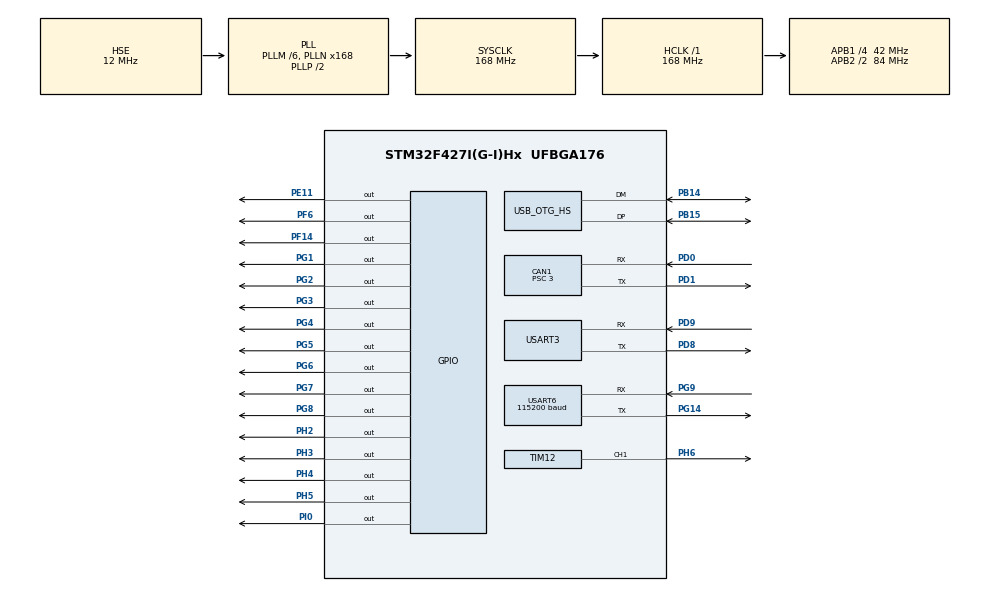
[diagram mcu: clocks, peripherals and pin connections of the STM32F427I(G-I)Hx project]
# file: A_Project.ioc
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CAN1.BS1=CAN_BS1_9TQ
CAN1.BS2=CAN_BS2_4TQ
CAN1.CalculateBaudRate=1000000
CAN1.CalculateTimeBit=1000
CAN1.CalculateTimeQuantum=71.42857142857143
CAN1.Mode=CAN_MODE_NORMAL
CAN1.Prescaler=3
CAN1.SJW=CAN_SJW_2TQ
Dma.Request0=USART6_RX
Dma.Request1=USART6_TX
Dma.USART6_RX.0.Direction=DMA_PERIPH_TO_MEMORY
Dma.USART6_RX.0.FIFOMode=DMA_FIFOMODE_DISABLE
Dma.USART6_RX.0.Instance=DMA2_Stream1
Dma.USART6_RX.0.MemDataAlignment=DMA_MDATAALIGN_BYTE
Dma.USART6_RX.0.MemInc=DMA_MINC_ENABLE
Dma.USART6_RX.0.Mode=DMA_CIRCULAR
Dma.USART6_RX.0.PeriphDataAlignment=DMA_PDATAALIGN_BYTE
Dma.USART6_RX.0.PeriphInc=DMA_PINC_DISABLE
Dma.USART6_RX.0.Priority=DMA_PRIORITY_MEDIUM
Dma.USART6_TX.1.Direction=DMA_MEMORY_TO_PERIPH
Dma.USART6_TX.1.FIFOMode=DMA_FIFOMODE_DISABLE
Dma.USART6_TX.1.Instance=DMA2_Stream6
Dma.USART6_TX.1.MemDataAlignment=DMA_MDATAALIGN_BYTE
Dma.USART6_TX.1.MemInc=DMA_MINC_ENABLE
Dma.USART6_TX.1.Mode=DMA_NORMAL
Dma.USART6_TX.1.PeriphDataAlignment=DMA_PDATAALIGN_BYTE
Dma.USART6_TX.1.PeriphInc=DMA_PINC_DISABLE
Dma.USART6_TX.1.Priority=DMA_PRIORITY_LOW
FREERTOS.BinarySemaphores01=U6RX_DMA,Dynamic,NULL,Depleted
FREERTOS.CountingSemaphores01=canfifo0,3,Dynamic,NULL,0
FREERTOS.Queues01=uart_Q,10,UART_Packet_t*,0,Dynamic,NULL,NULL;canrx_Q,16,CAN_Packet_t*,0,Dynamic,NULL,NULL
FREERTOS.Tasks01=led,24,300,StartLed,As weak,NULL,Dynamic,NULL,NULL;uart,55,1000,StartUart,As weak,NULL,Dynamic,NULL,NULL;can,8,700,StartCan,As weak,NULL,Dynamic,NULL,NULL;GM6020,8,128,StartGM6020,Default,NULL,Dynamic,NULL,NULL
FREERTOS.configENABLE_FPU=1
Mcu.Family=STM32F4
Mcu.Name=STM32F427I(G-I)Hx
Mcu.Package=UFBGA176
NVIC.CAN1_RX0_IRQn=true\:5\:0\:false\:false\:true\:true\:true\:true\:true
NVIC.CAN1_RX1_IRQn=true\:5\:0\:false\:false\:true\:true\:true\:true\:true
NVIC.DMA2_Stream1_IRQn=true\:5\:0\:false\:false\:true\:true\:false\:true\:true
NVIC.DMA2_Stream6_IRQn=true\:5\:0\:false\:false\:true\:true\:false\:true\:true
NVIC.OTG_HS_IRQn=true\:5\:0\:false\:false\:true\:true\:false\:true\:true
NVIC.PriorityGroup=NVIC_PRIORITYGROUP_4
NVIC.TIM6_DAC_IRQn=true\:15\:0\:false\:false\:true\:false\:false\:true\:true
NVIC.TimeBase=TIM6_DAC_IRQn
NVIC.TimeBaseIP=TIM6
NVIC.USART6_IRQn=true\:5\:0\:false\:false\:true\:true\:true\:true\:true
PA13.Mode=Serial_Wire
PA13.Signal=SYS_JTMS-SWDIO
PA14.Mode=Serial_Wire
PA14.Signal=SYS_JTCK-SWCLK
PB12.Signal=CAN2_RX
PB14.Mode=Device_Only_FS
PB14.Signal=USB_OTG_HS_DM
PB15.Mode=Device_Only_FS
PB15.Signal=USB_OTG_HS_DP
PB7.Signal=USART1_RX
PD0.Mode=CAN_Activate
PD0.Signal=CAN1_RX
PD1.Mode=CAN_Activate
PD1.Signal=CAN1_TX
PD8.Mode=Asynchronous
PD8.Signal=USART3_TX
PD9.Mode=Asynchronous
PD9.Signal=USART3_RX
PE11.Signal=GPIO_Output
PE7.Signal=UART7_RX
PE8.Signal=UART7_TX
PF14.Signal=GPIO_Output
PF6.Signal=GPIO_Output
PF7.Signal=SPI5_SCK
PF9.Signal=SPI5_MOSI
PG1.Signal=GPIO_Output
PG14.Mode=Asynchronous
PG14.Signal=USART6_TX
PG2.Signal=GPIO_Output
PG3.Signal=GPIO_Output
PG4.Signal=GPIO_Output
PG5.Signal=GPIO_Output
PG6.Signal=GPIO_Output
PG7.Signal=GPIO_Output
PG8.Signal=GPIO_Output
PG9.Mode=Asynchronous
PG9.Signal=USART6_RX
PH0/OSC_IN.Mode=HSE-External-Oscillator
PH0/OSC_IN.Signal=RCC_OSC_IN
PH1/OSC_OUT.Mode=HSE-External-Oscillator
PH1/OSC_OUT.Signal=RCC_OSC_OUT
PH2.GPIO_PuPd=GPIO_NOPULL
PH2.PinState=GPIO_PIN_SET
PH2.Signal=GPIO_Output
PH3.PinState=GPIO_PIN_SET
PH3.Signal=GPIO_Output
PH4.PinState=GPIO_PIN_SET
PH4.Signal=GPIO_Output
PH5.PinState=GPIO_PIN_SET
PH5.Signal=GPIO_Output
PH6.Signal=S_TIM12_CH1
PI0.PinState=GPIO_PIN_SET
PI0.Signal=GPIO_Output
ProjectManager.HeapSize=0x1000
ProjectManager.StackSize=0x2000
ProjectManager.TargetToolchain=CMake
RCC.48MHZClocksFreq_Value=48000000
RCC.AHBFreq_Value=168000000
RCC.APB1CLKDivider=RCC_HCLK_DIV4
RCC.APB1Freq_Value=42000000
RCC.APB1TimFreq_Value=84000000
RCC.APB2CLKDivider=RCC_HCLK_DIV2
RCC.APB2Freq_Value=84000000
RCC.APB2TimFreq_Value=168000000
RCC.CortexFreq_Value=168000000
RCC.HCLKFreq_Value=168000000
RCC.HSE_VALUE=12000000
RCC.HSI_VALUE=16000000
RCC.LSE_VALUE=32768
RCC.PLLM=6
RCC.PLLN=168
RCC.PLLQ=7
RCC.SYSCLKFreq_VALUE=168000000
RCC.SYSCLKSource=RCC_SYSCLKSOURCE_PLLCLK
RCC.VCOOutputFreq_Value=336000000
SH.S_TIM12_CH1.0=TIM12_CH1,PWM Generation1 CH1
STMicroelectronics.X-CUBE-ALGOBUILD.1.4.0.LibraryCcDSPOoLibraryJjDSPOoLibrary=true
TIM12.AutoReloadPreload=TIM_AUTORELOAD_PRELOAD_ENABLE
TIM12.Channel-PWM\ Generation1\ CH1=TIM_CHANNEL_1
TIM12.Period=999
TIM12.Prescaler=5
TIM12.Pulse-PWM\ Generation1\ CH1=500
USART3.VirtualMode=VM_ASYNC
USART6.BaudRate=115200
USART6.Mode=MODE_TX_RX
USART6.StopBits=STOPBITS_1
USART6.VirtualMode=VM_ASYNC
USB_DEVICE.CLASS_NAME_HS=CDC
USB_DEVICE.VirtualMode-CDC_HS=Cdc
USB_DEVICE.VirtualModeHS=Cdc_HS
USB_OTG_HS.VirtualMode-Device_Only_FS=Device_Only_FS
VP_FREERTOS_VS_CMSIS_V2.Mode=CMSIS_V2
VP_STMicroelectronics.X-CUBE-ALGOBUILD_VS_DSPOoLibraryJjLibrary_1.4.0_1.4.0.Mode=DSPOoLibraryJjLibrary
VP_SYS_VS_tim6.Mode=TIM6
VP_TIM12_VS_ClockSourceINT.Mode=Internal
VP_USB_DEVICE_VS_USB_DEVICE_CDC_HS.Mode=CDC_HS
board=custom

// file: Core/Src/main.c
/* USER CODE BEGIN Header */
/**
  ******************************************************************************
  * @file           : main.c
  * @brief          : Main program body
  ******************************************************************************
  * @attention
  *
  * Copyright (c) 2026 STMicroelectronics.
  * All rights reserved.
  *
  * This software is licensed under terms that can be found in the LICENSE file
  * in the root directory of this software component.
  * If no LICENSE file comes with this software, it is provided AS-IS.
  *
  ******************************************************************************
  */
/* USER CODE END Header */
#include "main.h"
#include "cmsis_os.h"
#include "can.h"
#include "dma.h"
#include "tim.h"
#include "usart.h"
#include "usb_device.h"
#include "gpio.h"

/* USER CODE BEGIN Includes */

#include <tgmath.h>

#include "freertos_extern.h"
#include "main2.h"
#include "PID.h"
#include "can_user.h"
#include "uart_printf.h"

/* USER CODE END Includes */

void SystemClock_Config(void);
void MX_FREERTOS_Init(void);
/* USER CODE BEGIN PFP */

int fputc(int c, FILE *stream)
{
    HAL_UART_Transmit(&huart6, (uint8_t *)&c, 1, 0xFFFF);
    return c;
}

/* USER CODE END PFP */

/* USER CODE BEGIN 0 */
extern uint8_t Rdata[8];
extern uint16_t RxID;
extern 	PID_t pid_6020_speed;
extern	PID_t pid_6020_location;
int16_t current6020[4]={0,0,0,0};
int16_t voltage6020[4]={0,0,0,0};

/* USER CODE END 0 */

int main(void)
{

  /* MCU Configuration--------------------------------------------------------*/

  /* Reset of all peripherals, Initializes the Flash interface and the Systick. */
  HAL_Init();

  /* USER CODE BEGIN Init */

	PID_Init(&pid_6020_speed);
	PID_Init(&pid_6020_location);

	pid_6020_speed.Target=200;
	pid_6020_speed.Kp=75;
	pid_6020_speed.Ki=1.9;
	pid_6020_speed.Kd=10;
	pid_6020_speed.IntSep=15;
	pid_6020_speed.IntMax=40000;
	pid_6020_speed.OutMax=25000;
	pid_6020_speed.OutMin=-25000;
	pid_6020_speed.DeadZone=4;
	pid_6020_speed.DifFilter=0.5;
	pid_6020_speed.DifFront=1;

	pid_6020_location.Target=4000;
	pid_6020_location.Kp=0.5;
	pid_6020_location.Ki=0.00;
	pid_6020_location.Kd=0.3;
	pid_6020_location.IntSep=20;
	pid_6020_location.IntMax=20000;
	pid_6020_location.OutMax=200;
	pid_6020_location.OutMin=-200;
	pid_6020_location.DeadZone=10;
	pid_6020_location.DifFilter=0.1;
	pid_6020_location.DifFront=1;

  /* USER CODE END Init */

  /* Configure the system clock */
  SystemClock_Config();

  /* Initialize all configured peripherals */
  MX_GPIO_Init();
  MX_DMA_Init();
  MX_CAN1_Init();
  MX_USART6_UART_Init();
  MX_USART3_UART_Init();
  MX_TIM12_Init();
  /* USER CODE BEGIN 2 */
	CAN_Filter_FIFO0_AllPass_Init();

	HAL_UART_Receive_DMA(&huart6,U1_RxBuff,256);
	__HAL_UART_ENABLE_IT(&huart6, UART_IT_IDLE);

	//u6_printf("clear\n");

//	while (1){u6_printf("helloworld");}//截断 os 内核初始化

  /* USER CODE END 2 */

  /* Init scheduler */
  osKernelInitialize();  /* Call init function for freertos objects (in cmsis_os2.c) */
  MX_FREERTOS_Init();

  /* Start scheduler */
  osKernelStart();

  /* We should never get here as control is now taken by the scheduler */

  /* Infinite loop */
  /* USER CODE BEGIN WHILE */

  // ReSharper disable once CppDFAEndlessLoop
  while (1)
  {
    /* USER CODE END WHILE */

    /* USER CODE BEGIN 3 */

	 // if(!tt++)HAL_GPIO_TogglePin(GPIOF,GPIO_PIN_14);

  	//CAN_GM6020_Current(current6020);
	// if (update) {
	// 	int tar=pid_6020_location.Target;
	// 	int up=tar+50;
	// 	int low=tar-50;
	// 	int out =pid_6020_speed.Out/100;
	//
	// 	int p=pid_6020_location.Error0*pid_6020_location.Kp;
	// 	int i= pid_6020_location.ErrorInt*pid_6020_location.Ki;
	// 	int d=					(1-pid_6020_location.DifFilter)	*(pid_6020_location.Kd * (pid_6020_location.Actual - pid_6020_location.Actual_front))
	// 				+ pid_6020_location.DifFilter		* pid_6020_location.Actual_front;
	//
	//
	// 	u6_printf(
	// 			"ang:%d,"
	// 				"speed:%d ,"
	// 				"target:%d ,"
	// 				"+:%d,"
	// 				"%d,"
	// 				"P%d,"
	// 				"I%d,"
	// 				"D%d \n"
	//
	// 				,ang
	// 				,speed
	// 				,tar
	// 				,up
	// 				,low
	// 				,p
	// 				,i
	// 				,d
	// 			);
	//
	//
	//
	//
	// 	CAN_GM6020_voltage(voltage6020);
	// 	//CAN_GM6020_voltage(current6020);
	// 	update=0;
	// }

	HAL_Delay(1);

  }
  /* USER CODE END 3 */
}

void SystemClock_Config(void)
{
  RCC_OscInitTypeDef RCC_OscInitStruct = {0};
  RCC_ClkInitTypeDef RCC_ClkInitStruct = {0};

  /** Configure the main internal regulator output voltage
  */
  __HAL_RCC_PWR_CLK_ENABLE();
  __HAL_PWR_VOLTAGESCALING_CONFIG(PWR_REGULATOR_VOLTAGE_SCALE1);

  /** Initializes the RCC Oscillators according to the specified parameters
  * in the RCC_OscInitTypeDef structure.
  */
  RCC_OscInitStruct.OscillatorType = RCC_OSCILLATORTYPE_HSE;
  RCC_OscInitStruct.HSEState = RCC_HSE_ON;
  RCC_OscInitStruct.PLL.PLLState = RCC_PLL_ON;
  RCC_OscInitStruct.PLL.PLLSource = RCC_PLLSOURCE_HSE;
  RCC_OscInitStruct.PLL.PLLM = 6;
  RCC_OscInitStruct.PLL.PLLN = 168;
  RCC_OscInitStruct.PLL.PLLP = RCC_PLLP_DIV2;
  RCC_OscInitStruct.PLL.PLLQ = 7;
  if (HAL_RCC_OscConfig(&RCC_OscInitStruct) != HAL_OK)
  {
    Error_Handler();
  }

  /** Initializes the CPU, AHB and APB buses clocks
  */
  RCC_ClkInitStruct.ClockType = RCC_CLOCKTYPE_HCLK|RCC_CLOCKTYPE_SYSCLK
                              |RCC_CLOCKTYPE_PCLK1|RCC_CLOCKTYPE_PCLK2;
  RCC_ClkInitStruct.SYSCLKSource = RCC_SYSCLKSOURCE_PLLCLK;
  RCC_ClkInitStruct.AHBCLKDivider = RCC_SYSCLK_DIV1;
  RCC_ClkInitStruct.APB1CLKDivider = RCC_HCLK_DIV4;
  RCC_ClkInitStruct.APB2CLKDivider = RCC_HCLK_DIV2;

  if (HAL_RCC_ClockConfig(&RCC_ClkInitStruct, FLASH_LATENCY_5) != HAL_OK)
  {
    Error_Handler();
  }
}

void HAL_TIM_PeriodElapsedCallback(TIM_HandleTypeDef *htim)
{
  if (htim->Instance == TIM6)
  {
    HAL_IncTick();
  }
}

void Error_Handler(void)
{
  /* USER CODE BEGIN Error_Handler_Debug */
  /* User can add his own implementation to report the HAL error return state */
  __disable_irq();

  // ReSharper disable once CppDFAEndlessLoop
  while (1)
  {
  }
  /* USER CODE END Error_Handler_Debug */
}

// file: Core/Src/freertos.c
/* USER CODE BEGIN Header */
/**
  ******************************************************************************
  * File Name          : freertos.c
  * Description        : Code for freertos applications
  ******************************************************************************
  * @attention
  *
  * Copyright (c) 2026 STMicroelectronics.
  * All rights reserved.
  *
  * This software is licensed under terms that can be found in the LICENSE file
  * in the root directory of this software component.
  * If no LICENSE file comes with this software, it is provided AS-IS.
  *
  ******************************************************************************
  */
/* USER CODE END Header */

#include "FreeRTOS.h"
#include "task.h"
#include "main.h"
#include "cmsis_os.h"

/* USER CODE BEGIN Includes */
#include <stdlib.h>

#include "main3.h"
#include "uart_printf.h"
/* USER CODE END Includes */

/* Definitions for led */
osThreadId_t ledHandle;
const osThreadAttr_t led_attributes = {
  .name = "led",
  .stack_size = 300 * 4,
  .priority = (osPriority_t) osPriorityNormal,
};
/* Definitions for uart */
osThreadId_t uartHandle;
const osThreadAttr_t uart_attributes = {
  .name = "uart",
  .stack_size = 1000 * 4,
  .priority = (osPriority_t) osPriorityRealtime7,
};
/* Definitions for can */
osThreadId_t canHandle;
const osThreadAttr_t can_attributes = {
  .name = "can",
  .stack_size = 700 * 4,
  .priority = (osPriority_t) osPriorityLow,
};
/* Definitions for GM6020 */
osThreadId_t GM6020Handle;
const osThreadAttr_t GM6020_attributes = {
  .name = "GM6020",
  .stack_size = 128 * 4,
  .priority = (osPriority_t) osPriorityLow,
};
/* Definitions for uart_Q */
osMessageQueueId_t uart_QHandle;
const osMessageQueueAttr_t uart_Q_attributes = {
  .name = "uart_Q"
};
/* Definitions for canrx_Q */
osMessageQueueId_t canrx_QHandle;
const osMessageQueueAttr_t canrx_Q_attributes = {
  .name = "canrx_Q"
};
/* Definitions for U6RX_DMA */
osSemaphoreId_t U6RX_DMAHandle;
const osSemaphoreAttr_t U6RX_DMA_attributes = {
  .name = "U6RX_DMA"
};
/* Definitions for canfifo0 */
osSemaphoreId_t canfifo0Handle;
const osSemaphoreAttr_t canfifo0_attributes = {
  .name = "canfifo0"
};

void StartLed(void *argument);
void StartUart(void *argument);
void StartCan(void *argument);
void StartGM6020(void *argument);

extern void MX_USB_DEVICE_Init(void);
void MX_FREERTOS_Init(void); /* (MISRA C 2004 rule 8.1) */

void MX_FREERTOS_Init(void) {

  /* Create the semaphores(s) */
  /* creation of U6RX_DMA */
  U6RX_DMAHandle = osSemaphoreNew(1, 0, &U6RX_DMA_attributes);

  /* creation of canfifo0 */
  canfifo0Handle = osSemaphoreNew(3, 0, &canfifo0_attributes);

  /* Create the queue(s) */
  /* creation of uart_Q */
  uart_QHandle = osMessageQueueNew (10, sizeof(UART_Packet_t*), &uart_Q_attributes);

  /* creation of canrx_Q */
  canrx_QHandle = osMessageQueueNew (16, sizeof(CAN_Packet_t*), &canrx_Q_attributes);

  /* Create the thread(s) */
  /* creation of led */
  ledHandle = osThreadNew(StartLed, NULL, &led_attributes);

  /* creation of uart */
  uartHandle = osThreadNew(StartUart, NULL, &uart_attributes);

  /* creation of can */
  canHandle = osThreadNew(StartCan, NULL, &can_attributes);

  /* creation of GM6020 */
  GM6020Handle = osThreadNew(StartGM6020, NULL, &GM6020_attributes);

}

__weak void StartLed(void *argument)
{
  /* init code for USB_DEVICE */
  MX_USB_DEVICE_Init();
  /* USER CODE BEGIN StartLed */
  /* Infinite loop */
  for(;;)
  {

    osDelay(1000);
  }
  /* USER CODE END StartLed */
}

__weak void StartUart(void *argument)
{
  /* USER CODE BEGIN StartUart */

	UART_Packet_t *pkt;

  /* Infinite loop */
  for(;;)
  {

  	osMessageQueueGet(uart_QHandle, &pkt, NULL, osWaitForever);

  	pkt->data[pkt->len] = '\0';

    u6_printf("RX:%s\r\n", pkt->data);

  	free(pkt);

  }

  /* USER CODE END StartUart */
}

__weak void StartCan(void *argument)
{
  /* USER CODE BEGIN StartCan */

	CAN_Packet_t *pkt;

  /* Infinite loop */
  for(;;)
  {

	u6_printf("can pkt wait \n");

  	osMessageQueueGet(uart_QHandle, &pkt, NULL, osWaitForever);

  	switch(pkt->ID) {

	default:
  			break;

  	}
  	pkt->data[8]=0;
  	u6_printf("CAN  RX:%s\r\n", pkt->data);

  	free(pkt);

    osDelay(1000);
  }
  /* USER CODE END StartCan */
}

void StartGM6020(void *argument)
{
  for(;;)
  {
    osDelay(1);
  }
}
